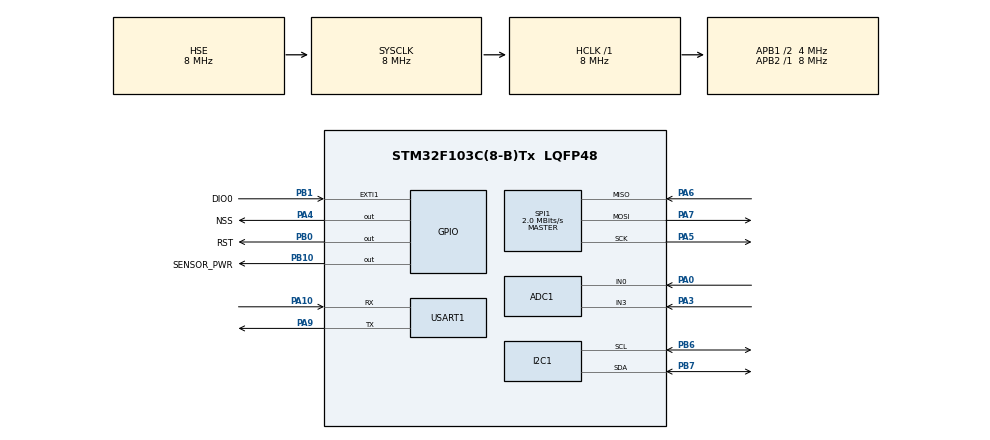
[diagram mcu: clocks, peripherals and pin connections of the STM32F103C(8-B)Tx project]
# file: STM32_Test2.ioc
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ADC1.Channel-7\#ChannelRegularConversion=ADC_CHANNEL_0
ADC1.Channel-8\#ChannelRegularConversion=ADC_CHANNEL_3
ADC1.ContinuousConvMode=ENABLE
ADC1.NbrOfConversion=2
ADC1.NbrOfConversionFlag=1
ADC1.Rank-7\#ChannelRegularConversion=1
ADC1.Rank-8\#ChannelRegularConversion=2
ADC1.SamplingTime-7\#ChannelRegularConversion=ADC_SAMPLETIME_239CYCLES_5
ADC1.SamplingTime-8\#ChannelRegularConversion=ADC_SAMPLETIME_239CYCLES_5
ADC1.master=1
Mcu.Family=STM32F1
Mcu.Name=STM32F103C(8-B)Tx
Mcu.Package=LQFP48
NVIC.EXTI1_IRQn=true\:0\:0\:false\:false\:true\:true\:true\:true
NVIC.PriorityGroup=NVIC_PRIORITYGROUP_4
NVIC.TIM1_UP_IRQn=true\:0\:0\:false\:false\:true\:true\:true\:true
PA0-WKUP.Signal=ADCx_IN0
PA10.Mode=Asynchronous
PA10.Signal=USART1_RX
PA13.Mode=Serial_Wire
PA13.Signal=SYS_JTMS-SWDIO
PA14.Mode=Serial_Wire
PA14.Signal=SYS_JTCK-SWCLK
PA3.Signal=ADCx_IN3
PA4.GPIO_Label=NSS
PA4.PinState=GPIO_PIN_SET
PA4.Signal=GPIO_Output
PA5.Mode=Full_Duplex_Master
PA5.Signal=SPI1_SCK
PA6.Mode=Full_Duplex_Master
PA6.Signal=SPI1_MISO
PA7.Mode=Full_Duplex_Master
PA7.Signal=SPI1_MOSI
PA9.Mode=Asynchronous
PA9.Signal=USART1_TX
PB0.GPIO_Label=RST
PB0.PinState=GPIO_PIN_SET
PB0.Signal=GPIO_Output
PB1.GPIO_Label=DIO0
PB1.Signal=GPXTI1
PB10.GPIO_Label=SENSOR_PWR
PB10.PinState=GPIO_PIN_SET
PB10.Signal=GPIO_Output
PB6.Mode=I2C
PB6.Signal=I2C1_SCL
PB7.Mode=I2C
PB7.Signal=I2C1_SDA
PD0-OSC_IN.Mode=HSE-External-Oscillator
PD0-OSC_IN.Signal=RCC_OSC_IN
PD1-OSC_OUT.Mode=HSE-External-Oscillator
PD1-OSC_OUT.Signal=RCC_OSC_OUT
ProjectManager.HeapSize=0x200
ProjectManager.StackSize=0x400
ProjectManager.TargetToolchain=STM32CubeIDE
RCC.ADCPresc=RCC_ADCPCLK2_DIV4
RCC.AHBFreq_Value=8000000
RCC.APB1CLKDivider=RCC_HCLK_DIV2
RCC.APB1Freq_Value=4000000
RCC.APB1TimFreq_Value=8000000
RCC.APB2Freq_Value=8000000
RCC.APB2TimFreq_Value=8000000
RCC.HCLKFreq_Value=8000000
RCC.PLLSourceVirtual=RCC_PLLSOURCE_HSE
RCC.RTCClockSelection=RCC_RTCCLKSOURCE_LSE
RCC.SYSCLKFreq_VALUE=8000000
RCC.SYSCLKSource=RCC_SYSCLKSOURCE_HSE
RCC.USBFreq_Value=16000000
SH.ADCx_IN0.0=ADC1_IN0,IN0
SH.ADCx_IN3.0=ADC1_IN3,IN3
SPI1.BaudRatePrescaler=SPI_BAUDRATEPRESCALER_4
SPI1.CalculateBaudRate=2.0 MBits/s
SPI1.Direction=SPI_DIRECTION_2LINES
SPI1.Mode=SPI_MODE_MASTER
SPI1.VirtualType=VM_MASTER
TIM1.Period=999
TIM1.Prescaler=7
USART1.VirtualMode=VM_ASYNC
VP_TIM1_VS_ClockSourceINT.Mode=Internal
board=custom

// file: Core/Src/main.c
/* USER CODE BEGIN Header */
/**
  ******************************************************************************
  * @file           : main.c
  * @brief          : Node LoRa TDMA (No printf version)
  ******************************************************************************
  */
/* USER CODE END Header */
#include "main.h"
#include "adc.h"
#include "i2c.h"
#include "spi.h"
#include "tim.h"
#include "usart.h"
#include "gpio.h"

/* USER CODE BEGIN Includes */
#include "LoRa.h"
#include "sht3x.h"
/* USER CODE END Includes */

/* USER CODE BEGIN PTD */

// Định nghĩa các trạng thái hoạt động của Node (Máy trạng thái - State Machine)
typedef enum {
    NODE_STATE_WAIT_BEACON,  // Đang chờ tín hiệu đồng bộ (Beacon) từ Gateway
    NODE_STATE_JOINING,		 // Đang xin gia nhập mạng (chưa có ID)
    NODE_STATE_TDMA_WAIT,	 // Đã đồng bộ, đang chờ đến khe thời gian (Slot) của mình
    NODE_STATE_SEND_DATA,	 // Đang gửi dữ liệu cảm biến đi
    NODE_STATE_SLEEP,		 // Ngủ đông để tiết kiệm pin chờ chu kỳ sau
    NODE_STATE_LOST_SYNC	 // Mất kết nối quá lâu (mất đồng bộ)
} node_state_t;

#define PKT_BEACON    1		 // Gói đồng bộ từ Gateway
#define PKT_DATA      2		 // Gói dữ liệu từ Node gửi lên
#define PKT_JOIN_REQ  3		 // Gói yêu cầu gia nhập từ Node mới
#define PKT_JOIN_ACK  4		 // Gói chấp nhận gia nhập từ Gateway

// --- CẤU TRÚC GÓI TIN (STRUCT) ---
// __attribute__((packed)) giúp nén struct lại, không cho compiler chèn byte trống (padding)
// để đảm bảo kích thước gói tin nhỏ nhất và khớp giữa các thiết bị khác nhau.

typedef struct __attribute__((packed)) {
    uint8_t  type;			 // Loại gói tin (PKT_BEACON = 1)
    uint16_t cycleID;		 // Số thứ tự chu kỳ hiện tại (để phát hiện trùng lặp)
    uint32_t serverTime;	 // Thời gian thực từ Server (Node dùng để chỉnh đồng hồ nếu cần)
    uint16_t cycleDuration;	 // Độ dài chu kỳ mạng (ví dụ 30s)
    uint16_t reportInterval; // Tần suất gửi báo cáo (ví dụ: 1 chu kỳ gửi 1 lần, hay 5 chu kỳ gửi 1 lần)
    uint8_t  checksum;		 // Byte kiểm tra lỗi
} BeaconPacket_t; 			 // Tổng: 12 Bytes

typedef struct __attribute__((packed)) {
    uint8_t  type;			 // Loại gói tin (PKT_DATA = 2)
    uint8_t  node_id; 		 // ID của Node gửi (được cấp bởi Gateway)
    int16_t  temperature;	 // Nhiệt độ nhân 100 (để giữ phần thập phân)
    uint16_t humidity;		 // Độ ẩm nhân 10
    uint8_t  soil_moisture;	 // Độ ẩm đất (%)
    uint8_t  battery_level;	 // Phần trăm pin (%)
    uint8_t  checksum;		 // Byte kiểm tra lỗi
} DataPacket_t; 			 // Tổng: 9 bytes

typedef struct __attribute__((packed)) {
    uint8_t  type;			 // Loại gói tin (PKT_JOIN_REQ = 3)
    uint32_t chipID;		 // Mã định danh cứng (Unique ID) của chip STM32
    uint8_t  checksum;		 // Byte kiểm tra lỗi
} JoinReqPacket_t; 			 // Tổng: 6 Bytes

typedef struct __attribute__((packed)) {
    uint8_t  type;			 // Loại gói tin (PKT_JOIN_ACK = 4)
    uint32_t chipID;		 // Trả lại chipID để Node biết gói này dành cho mình
    uint8_t  assignedID;	 // ID mới mà Gateway cấp cho Node (Slot)
    uint8_t  checksum;	  	 // Byte kiểm tra lỗi
} JoinAckPacket_t; 			 // Tổng: 7 Bytes

#define SLOT_TIME_MS  250				// Mỗi Node có 250ms để gửi
#define BEACON_TX_TIME_MS 100			// Thời gian dành cho Beacon
#define BASE_OFFSET_MS   1500			// Thời gian chờ sau Beacon trước khi bắt đầu Slot 1 (Phase Control)
#define JOIN_PHASE_START_MS  26500		// Thời điểm bắt đầu cho phép gửi Join Request (giây thứ 26.5)
#define FLASH_STORAGE_ADDR 0x0800FC00	// Địa chỉ bộ nhớ Flash dùng để lưu ID (Trang cuối cùng của STM32F103C8)
/* USER CODE END PTD */

/* USER CODE BEGIN PV */
sht3x_handle_t sht3x;	  // Biến cấu trúc điều khiển cảm biến SHT3x
LoRa myLoRa;			  // Biến cấu trúc điều khiển module LoRa
uint8_t RxBuffer[128];	  // Bộ đệm chứa dữ liệu nhận được từ LoRa

// --- BIẾN ĐỒNG HỒ HỆ THỐNG  ---
// Biến này cực kỳ quan trọng, được tăng lên 1 mỗi mili-giây bởi ngắt Timer
volatile uint32_t tdma_millis = 0;

// --- CÁC BIẾN CẤU HÌNH ĐỘNG ---
node_state_t current_state;					// Trạng thái hiện tại của Node
uint8_t  current_node_id = 0;				// ID của Node (0 = chưa có ID/Node mới)
uint16_t last_cycleID = 0;					// Lưu ID chu kỳ trước để tránh xử lý trùng Beacon
volatile uint32_t last_beacon_tick = 0;		// Thời điểm (tdma_millis) nhận được Beacon gần nhất
volatile uint32_t cycle_duration_sec = 30;	// Độ dài chu kỳ mặc định là 30s

// Biến quản lý tần suất gửi (Dynamic Reporting)
volatile uint16_t dynamic_report_interval = 1; // Mặc định là gửi mỗi chu kỳ (1)
uint16_t send_cycle_counter = 0;			   // Biến đếm số chu kỳ đã trôi qua

// Biến quản lý lỗi mất kết nối
uint8_t  missed_beacon_count = 0;		// Đếm số lần liên tiếp không thấy Beacon
#define MAX_MISSED_BEACONS 5			// Mất 5 lần liên tiếp coi như mất kết nối

// Cờ ngắt từ phần cứng (volatile vì thay đổi trong hàm ngắt)
extern volatile uint8_t TxDoneFlag;		// Cờ báo gửi xong
extern volatile uint8_t RxDoneFlag; 	// Cờ báo nhận xong

float temp_f, hum_f;			// Nhiệt độ, độ ẩm (float)
uint16_t adc_results[2];		// Kết quả ADC thô (0: Đất, 1: Pin)
uint8_t  soil_pct = 0;			// Độ ẩm đất (%)
uint8_t  bat_pct = 0;			// Pin (%)
uint32_t target_tx_time = 0;	// Thời điểm dự kiến sẽ gửi dữ liệu
/* USER CODE END PV */

void SystemClock_Config(void);
/* USER CODE BEGIN PFP */
void Serial_Printf(const char* format, ...);
void LowPower_Sleep_Millis(uint32_t ms);
/* USER CODE END PFP */

/* USER CODE BEGIN 0 */

// Hàm ngủ tiết kiệm năng lượng có độ trễ chính xác
void LowPower_Sleep_Millis(uint32_t ms) {
    uint32_t start = tdma_millis;
    // Chờ cho đến khi đủ thời gian trôi qua
    // Phép trừ (tdma_millis - start) xử lý đúng cả khi biến đếm tràn (overflow)
    while (tdma_millis - start < ms) {
    	// Lệnh WFI (Wait For Interrupt): CPU ngừng chạy, giảm tiêu thụ điện
    	// CPU sẽ tỉnh lại khi có ngắt Timer (mỗi 1ms) hoặc ngắt LoRa
        HAL_PWR_EnterSLEEPMode(PWR_MAINREGULATOR_ON, PWR_SLEEPENTRY_WFI);
    }
}

// Hàm đọc và trung bình cộng ADC để giảm nhiễu
void Read_All_ADC(void) {
    uint32_t sum_soil = 0;
    uint32_t sum_bat = 0;
    const uint8_t SAMPLES = 10;		// Lấy mẫu 10 lần

    // Dừng ADC để reset trạng thái
    HAL_ADC_Stop(&hadc1);

    for (int i = 0; i < SAMPLES; i++) {
        HAL_ADC_Start(&hadc1);		// Bắt đầu chuyển đổi
        // Đọc kênh đầu tiên (Độ ẩm đất)
        if (HAL_ADC_PollForConversion(&hadc1, 10) == HAL_OK) {
            sum_soil += HAL_ADC_GetValue(&hadc1);
        }
        // Đọc kênh tiếp theo (Pin - nhờ chế độ Scan của ADC)
        if (HAL_ADC_PollForConversion(&hadc1, 10) == HAL_OK) {
            sum_bat += HAL_ADC_GetValue(&hadc1);
        }
        LowPower_Sleep_Millis(5); 	 // Nghỉ 5ms giữa các lần đo
    }

    HAL_ADC_Stop(&hadc1);

    // Tính trung bình
    adc_results[0] = (uint16_t)(sum_soil / SAMPLES);
    adc_results[1] = (uint16_t)(sum_bat / SAMPLES);
}

// Hàm tính phần trăm pin từ giá trị ADC
uint8_t Calculate_Battery_Percent(uint16_t raw_val) {

	    uint16_t val_max = 1866;
	    uint16_t val_min = 1497;

	    // 1. Cắt ngọn (Clamping) để giá trị không vượt quá giới hạn
	    if (raw_val > val_max) raw_val = val_max;
	    if (raw_val < val_min) raw_val = val_min;

	    // 2. Tính phần trăm tuyến tính
	    uint32_t range = val_max - val_min;

	    // Ép kiểu sang uint32_t để tránh tràn số khi nhân với 100
	    uint8_t pct = (uint8_t)(((uint32_t)(raw_val - val_min) * 100) / range);

	    return pct;
}

// Hàm chuyển đổi ADC sang độ ẩm đất %
float SoilMoisture_Convert(uint16_t adc_value)
{
	// CÁC GIÁ TRỊ NÀY CẦN HIỆU CHỈNH THỰC TẾ (CALIBRATION)
	// Ví dụ: Nhúng vào nước được 1750, để khô được 2040
    if (adc_value > 2040) adc_value = 2040;
    if (adc_value < 1750)  adc_value = 1750;
    // Công thức tính tỷ lệ nghịch (ADC càng nhỏ -> càng ẩm)
    float pct = (float)(2040 - adc_value) * 60.0f / (2040 - 1750);
    return pct;
}

// HÀM LƯU ID VÀO BỘ NHỚ FLASH
void Flash_Write_ID(uint8_t id) {
	// Nếu ID không thay đổi thì không ghi lại (để bảo vệ tuổi thọ Flash)
    if (current_node_id == id) return;

    HAL_FLASH_Unlock();	// Mở khóa Flash
    FLASH_EraseInitTypeDef EraseInitStruct;
    uint32_t PageError;

    // Cấu hình xóa 1 trang nhớ (Page)
    EraseInitStruct.TypeErase   = FLASH_TYPEERASE_PAGES;
    EraseInitStruct.PageAddress = FLASH_STORAGE_ADDR;
    EraseInitStruct.NbPages     = 1;

    // Thực hiện xóa
    if (HAL_FLASHEx_Erase(&EraseInitStruct, &PageError) == HAL_OK) {
    	// Ghi dữ liệu: Magic Number (0xA5) ở byte cao + ID ở byte thấp
        uint32_t data = (0xA5 << 8) | id;
        HAL_FLASH_Program(FLASH_TYPEPROGRAM_WORD, FLASH_STORAGE_ADDR, data);
        current_node_id = id;	// Cập nhật biến toàn cục
        Serial_Printf("[FLASH] Saved ID: %d to 0x%X\r\n", id, FLASH_STORAGE_ADDR);
    } else {
        Serial_Printf("[FLASH] Erase Error!\r\n");
    }
    HAL_FLASH_Lock();	// Khóa lại Flash
}

// HÀM ĐỌC ID TỪ FLASH KHI KHỞI ĐỘNG
void Flash_Read_ID(void) {
	// Đọc trực tiếp từ địa chỉ bộ nhớ
    uint32_t data = *(__IO uint32_t *)FLASH_STORAGE_ADDR;
    // Kiểm tra Magic Number (0xA5) xem dữ liệu có hợp lệ không
    if ((data >> 8) == 0xA5) {
        current_node_id = (uint8_t)(data & 0xFF);	// Lấy byte thấp làm ID
        Serial_Printf("[FLASH] LOADED ID: %d\r\n", current_node_id);
    } else {
    	// Flash trắng hoặc lỗi -> Node mới
        current_node_id = 0;
        Serial_Printf("[FLASH] No ID found (New Node)\r\n");
    }
}

// Hàm in ra UART tuỳ chỉnh (giống printf)
void Serial_Printf(const char* format, ...) {
    char buff[64]; 											// Bộ đệm tạm
    va_list args;
    va_start(args, format);
    vsnprintf(buff, sizeof(buff), format, args);			// Format chuỗi
    va_end(args);
    // Gửi qua UART1
    HAL_UART_Transmit(&huart1, (uint8_t*)buff, strlen(buff), 100);
}

// Lấy mã định danh duy nhất của chip (Unique Device ID)
// Địa chỉ này là cố định cho dòng STM32F103
uint32_t Get_ChipID(void) {
    return *(uint32_t*)(0x1FFFF7E8); // Địa chỉ UID STM32F103
}

// Hàm tính XOR Checksum (đơn giản, nhanh)
uint8_t XOR_Calc(const void *buf, uint8_t payload_len) {
    uint8_t x = 0;
    uint8_t *p = (uint8_t*)buf;
    // XOR tất cả các byte lại với nhau
    for (uint8_t i = 0; i < payload_len; i++) x ^= p[i];
    return x;
}

// Hàm gửi gói dữ liệu (Data Packet) qua LoRa
void LoRa_Send_Data_HW(void) {
	// 1. Đóng gói dữ liệu vào struct
     DataPacket_t data = {
        .type          = PKT_DATA,
		.node_id       = current_node_id,
        .temperature   = (int16_t)(temp_f * 100),
        .humidity      = (uint16_t)(hum_f * 10),
        .soil_moisture = soil_pct,
		.battery_level = bat_pct,
    };
     // 2. Tính checksum
    data.checksum = XOR_Calc(&data, sizeof(DataPacket_t) - 1);
    // 3. Quy trình gửi phần cứng SX1278
    LoRa_gotoMode(&myLoRa, STNBY_MODE);							// Phải về Standby mới ghi được FIFO
    LoRa_write(&myLoRa, RegIrqFlags, 0xFF);						// Xóa cờ ngắt cũ
    uint8_t txBase = LoRa_read(&myLoRa, RegFiFoTxBaseAddr);
    LoRa_write(&myLoRa, RegFiFoAddPtr, txBase);					// Đặt con trỏ ghi

    // Ghi từng byte vào FIFO
    for(int i=0; i<sizeof(data); i++) LoRa_write(&myLoRa, RegFiFo, ((uint8_t*)&data)[i]);
    LoRa_write(&myLoRa, RegPayloadLength, sizeof(data));	    // Thiết lập độ dài
    LoRa_write(&myLoRa, RegDioMapping1, 0x40);					// Cấu hình DIO0 kích hoạt khi TxDone
    LoRa_gotoMode(&myLoRa, TRANSMIT_MODE);						// Kích hoạt chế độ gửi
}

// Hàm gửi yêu cầu gia nhập (Join Request)
void LoRa_Send_JoinReq_XOR(void) {
	// Random delay một chút để tránh xung đột nếu nhiều node bật cùng lúc
	// Dùng ChipID và thời gian hệ thống làm seed ngẫu nhiên
	srand(HAL_GetTick() ^ Get_ChipID());
	uint32_t safe_delay = 50 + (rand() % 200);
	LoRa_gotoMode(&myLoRa, STNBY_MODE);
	LowPower_Sleep_Millis(safe_delay);	// Ngủ chờ random

	// 1. Tạo gói tin
    JoinReqPacket_t req = {
    		.type = PKT_JOIN_REQ,
			.chipID = Get_ChipID()		// Gửi ChipID để Gateway nhận diện
    };
    req.checksum = XOR_Calc(&req, sizeof(req) - 1);

    // 2. Quy trình gửi (tương tự hàm trên)
    LoRa_gotoMode(&myLoRa, STNBY_MODE);
    uint8_t txBase = LoRa_read(&myLoRa, RegFiFoTxBaseAddr);
    LoRa_write(&myLoRa, RegFiFoAddPtr, txBase);
    for(int i=0; i<sizeof(req); i++) LoRa_write(&myLoRa, RegFiFo, ((uint8_t*)&req)[i]);
    LoRa_write(&myLoRa, RegPayloadLength, sizeof(req));
    LoRa_gotoMode(&myLoRa, TRANSMIT_MODE);
}
/* USER CODE END 0 */

int main(void)
{

  /* MCU Configuration--------------------------------------------------------*/

  /* Reset of all peripherals, Initializes the Flash interface and the Systick. */
  HAL_Init();

  /* Configure the system clock */
  SystemClock_Config();

  /* Initialize all configured peripherals */
  MX_GPIO_Init();
  MX_USART1_UART_Init();
  MX_SPI1_Init();
  MX_TIM1_Init();
  MX_I2C1_Init();
  MX_ADC1_Init();
  /* USER CODE BEGIN 2 */

  // 1. Khởi tạo cảm biến SHT3x
  sht3x.i2c_handle = &hi2c1;
  sht3x.device_address = SHT3X_I2C_DEVICE_ADDRESS_ADDR_PIN_LOW;
  if (!sht3x_init(&sht3x)) {
      Serial_Printf("[ERROR] SHT3x Init Failed!\r\n");
  } else {
	  Serial_Printf("[OK] SHT3x Ready.\r\n");
  }

  // 2. Khởi tạo module LoRa SX1278
  myLoRa = newLoRa();
  myLoRa.CS_port = NSS_GPIO_Port; myLoRa.CS_pin = NSS_Pin;
  myLoRa.reset_port = RST_GPIO_Port; myLoRa.reset_pin = RST_Pin;
  myLoRa.DIO0_port = DIO0_GPIO_Port; myLoRa.DIO0_pin = DIO0_Pin;
  myLoRa.hSPIx = &hspi1;

  myLoRa.frequency = 433;				// Tần số 433MHz
  myLoRa.spredingFactor = SF_7;			// SF7 (Tốc độ nhanh, tầm xa trung bình)
  myLoRa.bandWidth = BW_125KHz;			// Băng thông 125kHz
  myLoRa.crcRate = CR_4_5;				// Mã sửa lỗi
  myLoRa.power = POWER_17db;			// Công suất phát cao nhất
  myLoRa.overCurrentProtection = 100;
  myLoRa.preamble = 8;

  LoRa_reset(&myLoRa);		// Reset cứng module
  if (LoRa_init(&myLoRa) == LORA_OK) {
      Serial_Printf("[OK] LoRa Init Success.\r\n");
  } else {
      Serial_Printf("[ERROR] LoRa Init Failed: %d\r\n", LoRa_init(&myLoRa));
  }

  LoRa_setSyncWord(&myLoRa, 0x12);			// Mã đồng bộ mạng (phải giống nhau cả mạng)
  LoRa_setTOMsb_setCRCon(&myLoRa);			// Bật CRC
  LoRa_gotoMode(&myLoRa, RXCONTIN_MODE);	// Chuyển sang chế độ nhận liên tục
  HAL_TIM_Base_Start_IT(&htim1);			// Bật Timer 1 ngắt (để tăng biến tdma_millis)

  Serial_Printf(">>> NODE START | UID: 0x%lX <<<\r\n", Get_ChipID());
  Flash_Read_ID();							// Đọc ID từ bộ nhớ Flash

  current_state = NODE_STATE_WAIT_BEACON;	// Bắt đầu ở trạng thái chờ Beacon
  /* USER CODE END 2 */

  /* Infinite loop */
  /* USER CODE BEGIN WHILE */
  while (1)
  {
	  // --- MÁY TRẠNG THÁI (STATE MACHINE) ---
	  // Chương trình chính là một switch-case lớn xử lý từng trạng thái
	  switch (current_state) {
	  	  	  // --- TRẠNG THÁI 1: CHỜ BEACON ---
	  	  	  case NODE_STATE_WAIT_BEACON: {
	               LoRa_write(&myLoRa, RegDioMapping1, 0x00);	// Đảm bảo LoRa đang ở chế độ nhận
	               LoRa_gotoMode(&myLoRa, RXCONTIN_MODE);

	               uint32_t wait_start = tdma_millis;			// Ghi lại thời gian bắt đầu chờ
	               bool beacon_ok = false;

	               // Vòng lặp chờ tối đa 40 giây (chu kỳ mạng là 30s -> chờ 40s cho chắc)
	               while ((uint32_t)(tdma_millis - wait_start) < 40000) {
	            	      // Kiểm tra cờ ngắt báo có gói tin đến
	                      if (RxDoneFlag) {
	                          RxDoneFlag = 0;		// Xóa cờ
	                          uint8_t len = LoRa_read(&myLoRa, RegRxNbBytes);
	                          // Kiểm tra độ dài có đúng là gói Beacon không
	                          if (len == sizeof(BeaconPacket_t)) {
	                              LoRa_Read_Buffer(&myLoRa, RxBuffer, len);

	                              // Kiểm tra Checksum
	                              if (RxBuffer[len-1] != XOR_Calc(RxBuffer, len - 1)) continue;

	                              BeaconPacket_t *b = (BeaconPacket_t*)RxBuffer;
	                              if (b->type == PKT_BEACON) {
	                                  // Kiểm tra trùng lặp Beacon
	                                  if (b->cycleID == last_cycleID && last_cycleID != 0) continue;
	                                  // --- ĐỒNG BỘ THÀNH CÔNG ---
	                                  last_beacon_tick = tdma_millis;					// Cập nhật mốc thời gian chuẩn
	                                  last_cycleID = b->cycleID;
	                                  cycle_duration_sec = b->cycleDuration;
	                                  dynamic_report_interval = b->reportInterval;		// Cập nhật tần suất báo cáo động từ Gateway
	                                  if(dynamic_report_interval == 0) dynamic_report_interval = 1;
	                                  beacon_ok = true;
	                                  missed_beacon_count = 0;							// Reset đếm lỗi
	                                  Serial_Printf("[SYNC] Cycle %d | Dur:%d | Rep:%d\r\n", last_cycleID, cycle_duration_sec, dynamic_report_interval);

	                                  // --- PHÂN NHÁNH XỬ LÝ SAU BEACON ---
	                                  if (current_node_id != 0) {
	                                	  // --> TRƯỜNG HỢP A: ĐÃ CÓ ID (Node cũ)
	                                	  // Kiểm tra xem chu kỳ này có cần gửi không (Dynamic Reporting)
	                                	  send_cycle_counter++;
	                                	  if (send_cycle_counter >= dynamic_report_interval) {
	                                	      Serial_Printf("-> Time to SEND (%d/%d)\r\n", send_cycle_counter, dynamic_report_interval);
	                                	      send_cycle_counter = 0;
	                                	      current_state = NODE_STATE_TDMA_WAIT;		// Chuyển sang chờ gửi
	                                	  } else {
	                                		  // Chưa đến lượt gửi -> Ngủ tiếp
	                                	      Serial_Printf("-> Sleep & Sync (%d/%d)\r\n", send_cycle_counter, dynamic_report_interval);
	                                	      current_state = NODE_STATE_SLEEP;
	                                	  }
	                                  } else {
	                                      // --> TRƯỜNG HỢP B: CHƯA CÓ ID (Node mới)
	                                      Serial_Printf("[NO ID] Listening for ACK from Gateway...\r\n");
	                                      // Gateway sẽ gửi gói ACK cho các node khác ngay sau Beacon
	                                      // Node mới cần "nghe lỏm" xem có gói ACK nào dành cho mình không (từ yêu cầu join trước đó)
	                                      // Mở cửa sổ nghe trong 3 giây
	                                      uint32_t ack_wait_start = tdma_millis;
	                                      bool received_ack = false;

	                                      while ((uint32_t)(tdma_millis - ack_wait_start) < 3000) {
	                                          if (RxDoneFlag) {
	                                              RxDoneFlag = 0;
	                                              uint8_t l = LoRa_read(&myLoRa, RegRxNbBytes);
	                                              LoRa_Read_Buffer(&myLoRa, RxBuffer, l);			// Đọc buffer để xóa FIFO

	                                              if (l == sizeof(JoinAckPacket_t)) {
	                                                  JoinAckPacket_t *ack = (JoinAckPacket_t*)RxBuffer;
	                                                  // Kiểm tra xem ACK có chứa ChipID của mình không
	                                                  if (ack->type == PKT_JOIN_ACK && ack->chipID == Get_ChipID() && ack->checksum == XOR_Calc(ack, l - 1))
	                                                  {
	                                                	  // ĐƯỢC CHẤP NHẬN! Lưu ID vào Flash
	                                                      Flash_Write_ID(ack->assignedID);
	                                                      Serial_Printf("[JOIN] SUCCESS via ACK! ID=%d\r\n", current_node_id);
	                                                      received_ack = true;
	                                                      break; // Thoát vòng lặp chờ ACK
	                                                  }
	                                              }
	                                          }
	                                          // Ngủ nhẹ trong lúc chờ ACK (CPU sleep, LoRa vẫn on)
	                                          HAL_PWR_EnterSLEEPMode(PWR_MAINREGULATOR_ON, PWR_SLEEPENTRY_WFI);
	                                      }

	                                      if (received_ack) {
	                                    	  // Nếu nhận được ACK -> Có ID rồi -> Vào chờ gửi Data
	                                          current_state = NODE_STATE_TDMA_WAIT;
	                                      } else {
	                                    	  // Nghe 3s mà không thấy ai gọi tên mình -> Đi gửi đơn xin gia nhậpSerial_Printf("[TIMEOUT] No ACK received. Requesting Join...\r\n");
	                                          current_state = NODE_STATE_JOINING;
	                                      }
	                                  }
	                                  break;  // Thoát vòng lặp chờ Beacon (vì đã nhận được rồi)
	                              }
	                          }
	                      }
	                      HAL_PWR_EnterSLEEPMode(PWR_MAINREGULATOR_ON, PWR_SLEEPENTRY_WFI);
	               	  }
	                  // Nếu hết 40s mà không thấy Beacon -> Mất đồng bộ
	                  if (!beacon_ok) {
	                      missed_beacon_count++;
	                      Serial_Printf("[WARN] Miss Beacon (%d)\r\n", missed_beacon_count);
	                      if (missed_beacon_count >= MAX_MISSED_BEACONS) current_state = NODE_STATE_LOST_SYNC;
	                      else current_state = NODE_STATE_SLEEP;	// Ngủ tạm chờ chu kỳ sau
	                  }
	                  break;
	            }

	  	  	  	// --- TRẠNG THÁI 2: XIN GIA NHẬP ---
	            case NODE_STATE_JOINING: {
	            	  // Nếu ID rồi thì bỏ qua bước này
	                  if (current_node_id != 0) {
	                	  current_state = NODE_STATE_TDMA_WAIT;
	                	  break;
	                  }
	                  // Tính thời điểm bắt đầu Phase Join (theo thiết kế là giây thứ 26.5 sau Beacon)
	                  uint32_t join_target = last_beacon_tick + JOIN_PHASE_START_MS;

	                  // Nếu chưa đến giờ, ngủ chờ tiết kiệm pin
	                  if ((int32_t)(join_target - tdma_millis) > 0) {
	                       uint32_t sleep_time = join_target - tdma_millis;
	                       Serial_Printf("[JOIN] Too early. Sleep %lu ms until Phase 3...\r\n", sleep_time);
	                       LowPower_Sleep_Millis(sleep_time);
	                  }
	                  // Gửi gói Join Request (có random delay bên trong hàm)
	                  LoRa_Send_JoinReq_XOR();
	                  Serial_Printf("-> Sending JoinReq...\r\n");

	                  // Chờ cho đến khi gửi xong (TxDone)
	                  uint32_t t0 = tdma_millis;
	                  while (!TxDoneFlag && (uint32_t)(tdma_millis - t0) < 1500) {
	                       // Busy wait để chắc chắn không miss IRQ
	                  }
	                  TxDoneFlag = 0;   // Xóa cờ Tx
	                  RxDoneFlag = 0;   // Xóa cờ Rx
	                  // Chuyển ngay về trạng thái chờ Beacon để đón chu kỳ mới.
	                  Serial_Printf("[JOIN] Req sent. Waiting for Beacon & ACK next cycle...\r\n");
	                  current_state = NODE_STATE_WAIT_BEACON;
	                  break;
	            }

	            case NODE_STATE_TDMA_WAIT: {
	                 uint8_t my_slot = current_node_id - 1;
	                 target_tx_time = last_beacon_tick + BASE_OFFSET_MS + (uint32_t)my_slot * SLOT_TIME_MS;

	                 // Còn bao lâu nữa đến giờ G?
	                 int32_t remaining = (int32_t)target_tx_time - (int32_t)tdma_millis;

	                 if (remaining > 0) {
	                 	 // Còn sớm -> Ngủ đúng bằng thời gian còn lại
	                 	 LowPower_Sleep_Millis(remaining);
	                 }
	                 // Tỉnh dậy là đúng giờ G (hoặc lố 1-2ms do sai số, không sao)
	                 current_state = NODE_STATE_SEND_DATA;
	                 break;
	             }

	             // --- TRẠNG THÁI 4: GỬI DỮ LIỆU ---
	             case NODE_STATE_SEND_DATA: {
	            	  // Tính độ lệch thời gian thực tế so với dự kiến
	                  int32_t diff = (int32_t)tdma_millis - (int32_t)target_tx_time;
	                  // Nếu lệch quá +/- 150ms (Guard time) thì không gửi để tránh làm nhiễu Node khác
	                  if (diff < -150 || diff > 150) {
	                      Serial_Printf("[SKIP] Bad Timing (%ld)\r\n", diff);
	                      current_state = NODE_STATE_SLEEP;
	                      break;
	                  }

	                  // 1. Bật nguồn cảm biến (MOSFET kích)
	                  HAL_GPIO_WritePin(SENSOR_PWR_GPIO_Port, SENSOR_PWR_Pin, GPIO_PIN_RESET);
	                  LowPower_Sleep_Millis(20);	// Chờ điện áp ổn định
	                  // 2. Đọc cảm biến
	                  Read_All_ADC();
	                  Serial_Printf("ADC Soil=%d | Batt=%d\r\n", adc_results[0], adc_results[1]);
	                  // 3. Chuyển đổi dữ liệu
	                  soil_pct = (uint8_t)SoilMoisture_Convert(adc_results[0]);
	                  bat_pct  = (uint8_t)Calculate_Battery_Percent(adc_results[1]);
	                  sht3x_read_temperature_and_humidity(&sht3x, &temp_f, &hum_f);
	                  // 4. Tắt nguồn cảm biến (Tiết kiệm điện)
	                  HAL_GPIO_WritePin(SENSOR_PWR_GPIO_Port, SENSOR_PWR_Pin, GPIO_PIN_SET);
	                  // 5. Gửi dữ liệu qua LoRa
	                  LoRa_Send_Data_HW();
	                  Serial_Printf("-> TX Data (Slot %d)\r\n", current_node_id);
	                  // 6. Chờ gửi xong
	                  uint32_t t_tx = tdma_millis;
	                  while (!TxDoneFlag && (uint32_t)(tdma_millis - t_tx) < 100) {
	                       HAL_PWR_EnterSLEEPMode(PWR_MAINREGULATOR_ON, PWR_SLEEPENTRY_WFI);
	                  }

	                  // Nếu treo (không thấy cờ TxDone) -> Reset LoRa
	                  if (!TxDoneFlag) {
	                       LoRa_reset(&myLoRa);
	                       LoRa_init(&myLoRa);
	                       LoRa_setSyncWord(&myLoRa, 0x12);
	                       Serial_Printf("[ERR] TX Timeout\r\n");
	                  }
	                  TxDoneFlag = 0;
	                  missed_beacon_count = 0;				// Gửi thành công nghĩa là vẫn đồng bộ tốt
	                  current_state = NODE_STATE_SLEEP;		// Xong việc, đi ngủ
	                  break;
	             }

	             // --- TRẠNG THÁI 5: NGỦ ĐÔNG ---
	             case NODE_STATE_SLEEP: {
	                  LoRa_gotoMode(&myLoRa, SLEEP_MODE);	// Cho module LoRa ngủ

	                  // Tính thời điểm Beacon tiếp theo
	                  uint32_t total_cycle_ms = (uint32_t)cycle_duration_sec * 1000;
	                  uint32_t next_beacon = last_beacon_tick + total_cycle_ms;

	                  // Dự kiến dậy sớm 3 giây trước Beacon để đón lõng
	                  uint32_t wake_time = next_beacon - 500;

	                  if ((int32_t)(wake_time - tdma_millis) > 0) {
	                      LowPower_Sleep_Millis(wake_time - tdma_millis); 	// Ngủ dài
	                  }
	                  current_state = NODE_STATE_WAIT_BEACON;				// Tỉnh dậy, chuyển sang chờ Beacon
	                  break;
	             }

	             // --- TRẠNG THÁI 6: MẤT KẾT NỐI ---
	             case NODE_STATE_LOST_SYNC: {
	                  Serial_Printf("[ERR] LOST SYNC! Waiting...\r\n");
	                  missed_beacon_count = 0;
	                  // Về cơ bản quay lại chờ Beacon.
	                  current_state = NODE_STATE_WAIT_BEACON;
	                  break;
	             }
	        }
  }
    /* USER CODE END WHILE */

}

void SystemClock_Config(void)
{
  RCC_OscInitTypeDef RCC_OscInitStruct = {0};
  RCC_ClkInitTypeDef RCC_ClkInitStruct = {0};
  RCC_PeriphCLKInitTypeDef PeriphClkInit = {0};

  /** Initializes the RCC Oscillators according to the specified parameters
  * in the RCC_OscInitTypeDef structure.
  */
  RCC_OscInitStruct.OscillatorType = RCC_OSCILLATORTYPE_HSE;
  RCC_OscInitStruct.HSEState = RCC_HSE_ON;
  RCC_OscInitStruct.PLL.PLLState = RCC_PLL_NONE;
  if (HAL_RCC_OscConfig(&RCC_OscInitStruct) != HAL_OK)
  {
    Error_Handler();
  }

  /** Initializes the CPU, AHB and APB buses clocks
  */
  RCC_ClkInitStruct.ClockType = RCC_CLOCKTYPE_HCLK|RCC_CLOCKTYPE_SYSCLK
                              |RCC_CLOCKTYPE_PCLK1|RCC_CLOCKTYPE_PCLK2;
  RCC_ClkInitStruct.SYSCLKSource = RCC_SYSCLKSOURCE_HSE;
  RCC_ClkInitStruct.AHBCLKDivider = RCC_SYSCLK_DIV1;
  RCC_ClkInitStruct.APB1CLKDivider = RCC_HCLK_DIV2;
  RCC_ClkInitStruct.APB2CLKDivider = RCC_HCLK_DIV1;

  if (HAL_RCC_ClockConfig(&RCC_ClkInitStruct, FLASH_LATENCY_0) != HAL_OK)
  {
    Error_Handler();
  }
  PeriphClkInit.PeriphClockSelection = RCC_PERIPHCLK_ADC;
  PeriphClkInit.AdcClockSelection = RCC_ADCPCLK2_DIV4;
  if (HAL_RCCEx_PeriphCLKConfig(&PeriphClkInit) != HAL_OK)
  {
    Error_Handler();
  }
}

/* USER CODE BEGIN 4 */
// Callback ngắt GPIO (khi chân DIO0 của LoRa nhảy mức logic)
void HAL_GPIO_EXTI_Callback(uint16_t GPIO_Pin)
{
	// Đọc thanh ghi cờ ngắt của SX1278
    if (GPIO_Pin == myLoRa.DIO0_pin)
    {
    	uint8_t irqFlags = LoRa_read(&myLoRa, RegIrqFlags);

    	    if (irqFlags & 0x08) TxDoneFlag = 1; // TxDone
    	    if (irqFlags & 0x40) RxDoneFlag = 1; // RxDone

    	    // Xóa cờ ngắt phần cứng ngay lập tức
    	    LoRa_write(&myLoRa, RegIrqFlags, 0xFF);
    }
}

// Callback ngắt Timer (xảy ra mỗi khi Timer tràn - cấu hình 1ms)
void HAL_TIM_PeriodElapsedCallback(TIM_HandleTypeDef *htim) {
    if (htim->Instance == TIM1) {
        tdma_millis++; // Tăng biến đếm thời gian hệ thống
    }
}

/* USER CODE END 4 */

void Error_Handler(void)
{
  __disable_irq();
  while (1)
  {
  }
}
